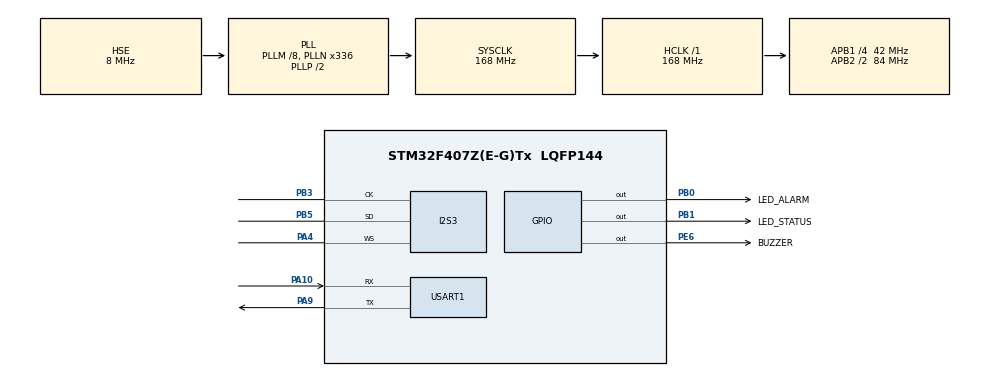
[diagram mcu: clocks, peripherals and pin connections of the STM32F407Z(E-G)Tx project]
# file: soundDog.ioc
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Dma.Request0=SPI3_RX
Dma.SPI3_RX.0.Direction=DMA_PERIPH_TO_MEMORY
Dma.SPI3_RX.0.FIFOMode=DMA_FIFOMODE_DISABLE
Dma.SPI3_RX.0.Instance=DMA1_Stream2
Dma.SPI3_RX.0.MemDataAlignment=DMA_MDATAALIGN_WORD
Dma.SPI3_RX.0.MemInc=DMA_MINC_ENABLE
Dma.SPI3_RX.0.Mode=DMA_CIRCULAR
Dma.SPI3_RX.0.PeriphDataAlignment=DMA_PDATAALIGN_WORD
Dma.SPI3_RX.0.PeriphInc=DMA_PINC_DISABLE
Dma.SPI3_RX.0.Priority=DMA_PRIORITY_HIGH
FREERTOS.Tasks01=defaultTask,24,128,StartDefaultTask,Default,NULL,Dynamic,NULL,NULL
FREERTOS.configUSE_NEWLIB_REENTRANT=1
I2S3.AudioFreq=I2S_AUDIOFREQ_16K
I2S3.DataFormat=I2S_DATAFORMAT_32B
I2S3.ErrorAudioFreq=0.0 %
I2S3.FullDuplexMode=I2S_FULLDUPLEXMODE_DISABLE
I2S3.Instance=SPI$Index
I2S3.Mode=I2S_MODE_MASTER_RX
I2S3.RealAudioFreq=16.0 KHz
I2S3.VirtualMode=I2S_MODE_MASTER
Mcu.Family=STM32F4
Mcu.Name=STM32F407Z(E-G)Tx
Mcu.Package=LQFP144
NVIC.DMA1_Stream2_IRQn=true\:5\:0\:true\:false\:true\:true\:false\:true\:true
NVIC.PVD_IRQn=true\:0\:0\:true\:false\:true\:false\:true\:true\:true
NVIC.PriorityGroup=NVIC_PRIORITYGROUP_4
NVIC.TIM7_IRQn=true\:15\:0\:false\:false\:true\:false\:false\:true\:true
NVIC.TimeBase=TIM7_IRQn
NVIC.TimeBaseIP=TIM7
PA10.Mode=Asynchronous
PA10.Signal=USART1_RX
PA13.Mode=Serial_Wire
PA13.Signal=SYS_JTMS-SWDIO
PA14.Mode=Serial_Wire
PA14.Signal=SYS_JTCK-SWCLK
PA4.Mode=Half_Duplex_Master
PA4.Signal=I2S3_WS
PA9.Mode=Asynchronous
PA9.Signal=USART1_TX
PB0.GPIO_Label=LED_ALARM
PB0.Signal=GPIO_Output
PB1.GPIO_Label=LED_STATUS
PB1.Signal=GPIO_Output
PB3.Mode=Half_Duplex_Master
PB3.Signal=I2S3_CK
PB5.Mode=Half_Duplex_Master
PB5.Signal=I2S3_SD
PE6.GPIO_Label=BUZZER
PE6.Signal=GPIO_Output
PH0-OSC_IN.Mode=HSE-External-Oscillator
PH0-OSC_IN.Signal=RCC_OSC_IN
PH1-OSC_OUT.Mode=HSE-External-Oscillator
PH1-OSC_OUT.Signal=RCC_OSC_OUT
ProjectManager.HeapSize=0xC000
ProjectManager.StackSize=0x1000
ProjectManager.TargetToolchain=Makefile
RCC.48MHZClocksFreq_Value=84000000
RCC.AHBFreq_Value=168000000
RCC.APB1CLKDivider=RCC_HCLK_DIV4
RCC.APB1Freq_Value=42000000
RCC.APB1TimFreq_Value=84000000
RCC.APB2CLKDivider=RCC_HCLK_DIV2
RCC.APB2Freq_Value=84000000
RCC.APB2TimFreq_Value=168000000
RCC.CortexFreq_Value=168000000
RCC.HCLKFreq_Value=168000000
RCC.HSE_VALUE=8000000
RCC.HSI_VALUE=16000000
RCC.LSE_VALUE=32768
RCC.PLLI2SN=256
RCC.PLLI2SR=5
RCC.PLLM=8
RCC.PLLN=336
RCC.PLLSourceVirtual=RCC_PLLSOURCE_HSE
RCC.SYSCLKFreq_VALUE=168000000
RCC.SYSCLKSource=RCC_SYSCLKSOURCE_PLLCLK
RCC.VCOOutputFreq_Value=336000000
USART1.VirtualMode=VM_ASYNC
VP_FREERTOS_VS_CMSIS_V2.Mode=CMSIS_V2
VP_SYS_VS_tim7.Mode=TIM7
board=custom

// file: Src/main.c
/* USER CODE BEGIN Header */
/**
  ******************************************************************************
  * @file           : main.c
  * @brief          : Main program body
  ******************************************************************************
  * @attention
  *
  * Copyright (c) 2026 STMicroelectronics.
  * All rights reserved.
  *
  * This software is licensed under terms that can be found in the LICENSE file
  * in the root directory of this software component.
  * If no LICENSE file comes with this software, it is provided AS-IS.
  *
  ******************************************************************************
  */
/* USER CODE END Header */
#include "main.h"
#include "cmsis_os.h"
#include "dma.h"
#include "i2s.h"
#include "usart.h"
#include "gpio.h"

/* USER CODE BEGIN Includes */
#include "i2s_drv.h"
#include <stdio.h>
/* USER CODE END Includes */

/* USER CODE BEGIN PV */

/* ---- 音频帧回调（在 DMA ISR 中调用，务必短小！）---- */

static void test_frame_cb(const audio_frame_t *frame)
{
    /* 第 1 帧打印 header，之后每 31 帧打印一次最大值 */
    static uint32_t count = 0;
    count++;

    if (count == 1) {
        printf("I2S DMA started! waiting data...\r\n");
    }

    if (count % 31 == 0) {
        int16_t max_val = 0;
        for (int i = 0; i < I2S_FRAME_SIZE; i++) {
            if (frame->pcm[i] > max_val)  max_val = frame->pcm[i];
            if (-frame->pcm[i] > max_val) max_val = -frame->pcm[i];
        }
        printf("[%lu] max=%d\r\n", frame->frame_index, max_val);
    }
}

/* USER CODE END PV */

void SystemClock_Config(void);
void MX_FREERTOS_Init(void);

/* USER CODE BEGIN 0 */

int _write(int fd, char *ptr, int len)
{
    HAL_UART_Transmit(&huart1, (uint8_t *)ptr, len, 100);
    return len;
}
/* USER CODE END 0 */

int main(void)
{

  /* MCU Configuration--------------------------------------------------------*/

  /* Reset of all peripherals, Initializes the Flash interface and the Systick. */
  HAL_Init();

  /* Configure the system clock */
  SystemClock_Config();

  /* Initialize all configured peripherals */
  MX_GPIO_Init();
  MX_DMA_Init();
  MX_I2S3_Init();
  MX_USART1_UART_Init();
  /* USER CODE BEGIN 2 */

/* 点亮绿灯 = 程序已经跑到 main 的 USER CODE 2 区 */
HAL_GPIO_WritePin(LED_STATUS_GPIO_Port, LED_STATUS_Pin, GPIO_PIN_SET);

/* 先打印，确认 printf 和串口工作 */
printf("SoundDog boot OK, SYSCLK=%lu\r\n", HAL_RCC_GetSysClockFreq());

/* 启动 I2S DMA 采集 */
HAL_StatusTypeDef ret = I2S_DRV_Init(&hi2s3, test_frame_cb);
printf("I2S_DRV_Init ret=%d (0=HAL_OK)\r\n", ret);

  /* USER CODE END 2 */

  /* Init scheduler */
  osKernelInitialize();  /* Call init function for freertos objects (in cmsis_os2.c) */
  MX_FREERTOS_Init();

  /* Start scheduler */
  osKernelStart();

  /* We should never get here as control is now taken by the scheduler */

  /* Infinite loop */
  while (1)
  {

  }
}

void SystemClock_Config(void)
{
  RCC_OscInitTypeDef RCC_OscInitStruct = {0};
  RCC_ClkInitTypeDef RCC_ClkInitStruct = {0};

  /** Configure the main internal regulator output voltage
  */
  __HAL_RCC_PWR_CLK_ENABLE();
  __HAL_PWR_VOLTAGESCALING_CONFIG(PWR_REGULATOR_VOLTAGE_SCALE1);

  /** Initializes the RCC Oscillators according to the specified parameters
  * in the RCC_OscInitTypeDef structure.
  */
  RCC_OscInitStruct.OscillatorType = RCC_OSCILLATORTYPE_HSE;
  RCC_OscInitStruct.HSEState = RCC_HSE_ON;
  RCC_OscInitStruct.PLL.PLLState = RCC_PLL_ON;
  RCC_OscInitStruct.PLL.PLLSource = RCC_PLLSOURCE_HSE;
  RCC_OscInitStruct.PLL.PLLM = 8;
  RCC_OscInitStruct.PLL.PLLN = 336;
  RCC_OscInitStruct.PLL.PLLP = RCC_PLLP_DIV2;
  RCC_OscInitStruct.PLL.PLLQ = 4;
  if (HAL_RCC_OscConfig(&RCC_OscInitStruct) != HAL_OK)
  {
    Error_Handler();
  }

  /** Initializes the CPU, AHB and APB buses clocks
  */
  RCC_ClkInitStruct.ClockType = RCC_CLOCKTYPE_HCLK|RCC_CLOCKTYPE_SYSCLK
                              |RCC_CLOCKTYPE_PCLK1|RCC_CLOCKTYPE_PCLK2;
  RCC_ClkInitStruct.SYSCLKSource = RCC_SYSCLKSOURCE_PLLCLK;
  RCC_ClkInitStruct.AHBCLKDivider = RCC_SYSCLK_DIV1;
  RCC_ClkInitStruct.APB1CLKDivider = RCC_HCLK_DIV4;
  RCC_ClkInitStruct.APB2CLKDivider = RCC_HCLK_DIV2;

  if (HAL_RCC_ClockConfig(&RCC_ClkInitStruct, FLASH_LATENCY_5) != HAL_OK)
  {
    Error_Handler();
  }
}

void HAL_TIM_PeriodElapsedCallback(TIM_HandleTypeDef *htim)
{
  if (htim->Instance == TIM7)
  {
    HAL_IncTick();
  }
}

void Error_Handler(void)
{
  __disable_irq();
  while (1)
  {
  }
}
